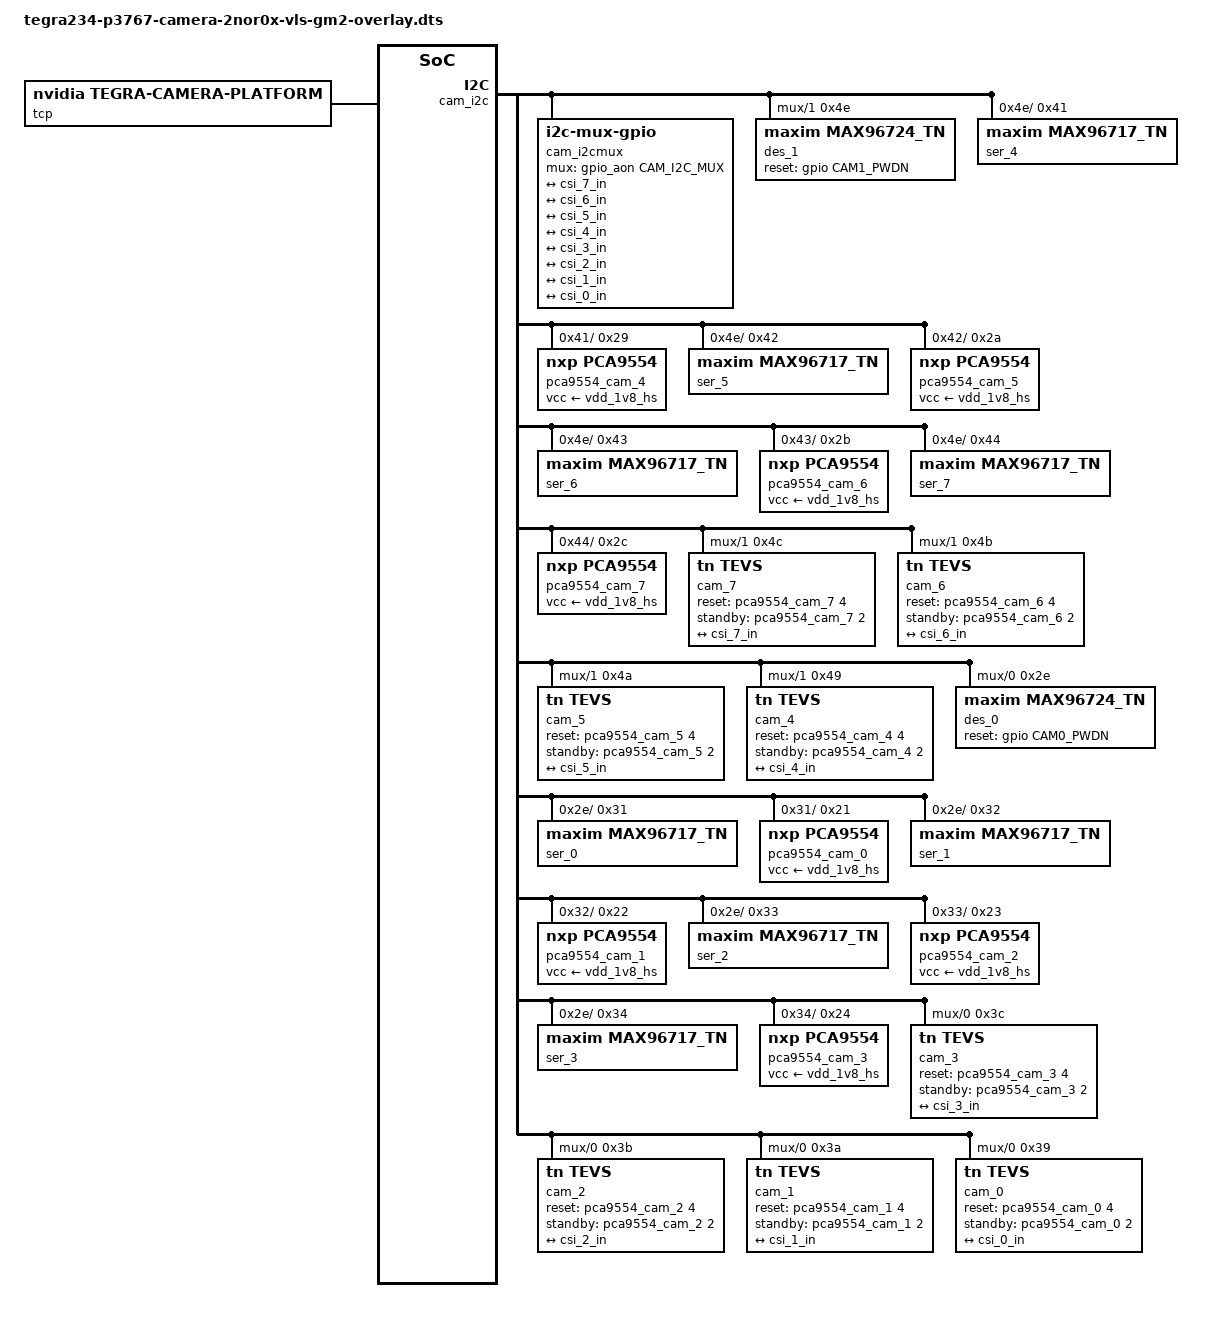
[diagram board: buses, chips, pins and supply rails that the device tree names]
// SPDX-License-Identifier: GPL-2.0-only
// SPDX-FileCopyrightText: Copyright (c) 2023, NVIDIA CORPORATION & AFFILIATES. All rights reserved.

/dts-v1/;
/plugin/;

#include <dt-bindings/tegra234-p3767-0000-common.h>

#define CAM0_RST    	TEGRA234_MAIN_GPIO(H, 3)
#define CAM0_PWDN		TEGRA234_MAIN_GPIO(H, 6)
#define CAM1_PWDN		TEGRA234_MAIN_GPIO(AC, 0)

#define CAM_I2C_MUX 	TEGRA234_AON_GPIO(CC, 3)

#define CAM_NUM 8

#define CAM0_PORT 				0
#define CAM0_LANES 				4
#define CAM0_VC_ID 				0
#define CAM0_LANES_STRING 		"4"
#define CAM0_SINTERFACE			"serial_a"
#define CAM0_LANE_POLARITY		"6"
#define CAM0_PIXEL_CLK			"140000000"
#define CAM0_SERDES_PIXEL_CLK	"625000000"
#define CAM0_DES_PHY_ID			1

#define CAM1_PORT 				0
#define CAM1_LANES 				4
#define CAM1_VC_ID 				1
#define CAM1_LANES_STRING 		"4"
#define CAM1_SINTERFACE			"serial_a"
#define CAM1_LANE_POLARITY		"6"
#define CAM1_PIXEL_CLK			"140000000"
#define CAM1_SERDES_PIXEL_CLK	"625000000"
#define CAM1_DES_PHY_ID			1

#define CAM2_PORT 				0
#define CAM2_LANES 				4
#define CAM2_VC_ID 				2
#define CAM2_LANES_STRING 		"4"
#define CAM2_SINTERFACE			"serial_a"
#define CAM2_LANE_POLARITY		"6"
#define CAM2_PIXEL_CLK			"140000000"
#define CAM2_SERDES_PIXEL_CLK	"625000000"
#define CAM2_DES_PHY_ID			1

#define CAM3_PORT 				0
#define CAM3_LANES 				4
#define CAM3_VC_ID 				3
#define CAM3_LANES_STRING 		"4"
#define CAM3_SINTERFACE			"serial_a"
#define CAM3_LANE_POLARITY		"6"
#define CAM3_PIXEL_CLK			"140000000"
#define CAM3_SERDES_PIXEL_CLK	"625000000"
#define CAM3_DES_PHY_ID			1

#define CAM4_PORT 				2
#define CAM4_LANES 				4
#define CAM4_VC_ID 				0
#define CAM4_LANES_STRING 		"4"
#define CAM4_SINTERFACE			"serial_c"
#define CAM4_LANE_POLARITY		"0"
#define CAM4_PIXEL_CLK			"140000000"
#define CAM4_SERDES_PIXEL_CLK	"625000000"
#define CAM4_DES_PHY_ID			1

#define CAM5_PORT 				2
#define CAM5_LANES 				4
#define CAM5_VC_ID 				1
#define CAM5_LANES_STRING 		"4"
#define CAM5_SINTERFACE			"serial_c"
#define CAM5_LANE_POLARITY		"0"
#define CAM5_PIXEL_CLK			"140000000"
#define CAM5_SERDES_PIXEL_CLK	"625000000"
#define CAM5_DES_PHY_ID			1

#define CAM6_PORT 				2
#define CAM6_LANES 				4
#define CAM6_VC_ID 				2
#define CAM6_LANES_STRING 		"4"
#define CAM6_SINTERFACE			"serial_c"
#define CAM6_LANE_POLARITY		"0"
#define CAM6_PIXEL_CLK			"140000000"
#define CAM6_SERDES_PIXEL_CLK	"625000000"
#define CAM6_DES_PHY_ID			1

#define CAM7_PORT 				2
#define CAM7_LANES 				4
#define CAM7_VC_ID 				3
#define CAM7_LANES_STRING 		"4"
#define CAM7_SINTERFACE			"serial_c"
#define CAM7_LANE_POLARITY		"0"
#define CAM7_PIXEL_CLK			"140000000"
#define CAM7_SERDES_PIXEL_CLK	"625000000"
#define CAM7_DES_PHY_ID			1

#define DES_LINK_FREQ			1250000000
#define TEVS_LINK_FREQ			280000000

#define TEVS_MODE_COMMON(LANES, SINTERFACE, LANE_POLARITY, PIXEL_CLK, SERDES_PIXEL_CLK)	\
	mclk_khz = "24000";							\
	num_lanes = LANES;							\
	tegra_sinterface = SINTERFACE;				\
	lane_polarity = LANE_POLARITY;				\
	phy_mode = "DPHY";							\
	discontinuous_clk = "no";					\
	dpcm_enable = "false";						\
	cil_settletime = "0";						\
	mode_type = "yuv";							\
	pixel_phase = "uyvy";						\
	csi_pixel_bit_depth = "16";					\
	readout_orientation = "90";					\
	line_length = "3448";						\
	inherent_gain = "1";						\
	mclk_multiplier = "9.33";					\
	pix_clk_hz = PIXEL_CLK;						\
	serdes_pix_clk_hz = SERDES_PIXEL_CLK;		\
	gain_factor = "16";							\
	framerate_factor = "1000000";				\
	exposure_factor = "1000000";				\
	min_gain_val = "16";						\
	max_gain_val = "170";						\
	step_gain_val = "1";						\
	default_gain = "16";						\
	min_hdr_ratio = "1";						\
	max_hdr_ratio = "1";						\
	min_framerate = "2000000";					\
	step_framerate = "1";						\
	min_exp_time = "13";						\
	max_exp_time = "683709";					\
	step_exp_time = "1";						\
	default_exp_time = "2495";					\
	embedded_metadata_height = "0";

#define TEVS_MODES(LANES, SINTERFACE, LANE_POLARITY, PIXEL_CLK, SERDES_PIXEL_CLK)	\
	mode0 {										\
		TEVS_MODE_COMMON(LANES, SINTERFACE, LANE_POLARITY, PIXEL_CLK, SERDES_PIXEL_CLK)	\
		active_w = "3280";						\
		active_h = "2464";						\
		max_framerate = "21000000";				\
		default_framerate = "21000000";			\
	};											\
	mode1 {										\
		TEVS_MODE_COMMON(LANES, SINTERFACE, LANE_POLARITY, PIXEL_CLK, SERDES_PIXEL_CLK)	\
		active_w = "3280";						\
		active_h = "1848";						\
		max_framerate = "28000000";				\
		default_framerate = "28000000";			\
	};											\
	mode2 {										\
		TEVS_MODE_COMMON(LANES, SINTERFACE, LANE_POLARITY, PIXEL_CLK, SERDES_PIXEL_CLK)	\
		active_w = "1920";						\
		active_h = "1080";						\
		max_framerate = "30000000";				\
		default_framerate = "30000000";			\
	};											\
	mode3 {										\
		TEVS_MODE_COMMON(LANES, SINTERFACE, LANE_POLARITY, PIXEL_CLK, SERDES_PIXEL_CLK)	\
		active_w = "1640";						\
		active_h = "1232";						\
		max_framerate = "30000000";				\
		default_framerate = "30000000";			\
	};											\
	mode4 {										\
		TEVS_MODE_COMMON(LANES, SINTERFACE, LANE_POLARITY, PIXEL_CLK, SERDES_PIXEL_CLK)	\
		active_w = "1280";						\
		active_h = "720";						\
		max_framerate = "60000000";				\
		default_framerate = "60000000";			\
	};											\
	mode5 {										\
		TEVS_MODE_COMMON(LANES, SINTERFACE, LANE_POLARITY, PIXEL_CLK, SERDES_PIXEL_CLK)	\
		active_w = "640";						\
		active_h = "480";						\
		max_framerate = "60000000";				\
		default_framerate = "60000000";			\
	};

/ {
	overlay-name = "TechNexion VLS-GM2 Camera with Pixel Mode";
	jetson-header-name = "Jetson 24pin CSI Connector";

	fragment-camera-tevs@0 {
		target-path = "/";
		__overlay__ {
			tegra-capture-vi  {
				num-channels = <CAM_NUM>;
				ports {
					#address-cells = <1>;
					#size-cells = <0>;

					vi_port0: port@0 {
						reg = <0>;

						vi_in0: endpoint {
							vc-id = <CAM0_VC_ID>;
							port-index = <CAM0_PORT>;
							bus-width = <CAM0_LANES>;
							remote-endpoint = <&csi_0_out>;
						};
					};

					vi_port1: port@1 {
						reg = <1>;

						vi_in1: endpoint {
							vc-id = <CAM1_VC_ID>;
							port-index = <CAM1_PORT>;
							bus-width = <CAM1_LANES>;
							remote-endpoint = <&csi_1_out>;
						};
					};

					vi_port2: port@2 {
						reg = <2>;

						vi_in2: endpoint {
							vc-id = <CAM2_VC_ID>;
							port-index = <CAM2_PORT>;
							bus-width = <CAM2_LANES>;
							remote-endpoint = <&csi_2_out>;
						};
					};

					vi_port3: port@3 {
						reg = <3>;

						vi_in3: endpoint {
							vc-id = <CAM3_VC_ID>;
							port-index = <CAM3_PORT>;
							bus-width = <CAM3_LANES>;
							remote-endpoint = <&csi_3_out>;
						};
					};

					vi_port4: port@4 {
						reg = <4>;

						vi_in4: endpoint {
							vc-id = <CAM4_VC_ID>;
							port-index = <CAM4_PORT>;
							bus-width = <CAM4_LANES>;
							remote-endpoint = <&csi_4_out>;
						};
					};

					vi_port5: port@5 {
						reg = <5>;

						vi_in5: endpoint {
							vc-id = <CAM5_VC_ID>;
							port-index = <CAM5_PORT>;
							bus-width = <CAM5_LANES>;
							remote-endpoint = <&csi_5_out>;
						};
					};

					vi_port6: port@6 {
						reg = <6>;

						vi_in6: endpoint {
							vc-id = <CAM6_VC_ID>;
							port-index = <CAM6_PORT>;
							bus-width = <CAM6_LANES>;
							remote-endpoint = <&csi_6_out>;
						};
					};

					vi_port7: port@7 {
						reg = <7>;

						vi_in7: endpoint {
							vc-id = <CAM7_VC_ID>;
							port-index = <CAM7_PORT>;
							bus-width = <CAM7_LANES>;
							remote-endpoint = <&csi_7_out>;
						};
					};
				};
			};

			tcp: tegra-camera-platform {
				compatible = "nvidia, tegra-camera-platform";
				/**
				* Physical settings to calculate max ISO BW
				*
				* num_csi_lanes = <>;
				* Total number of CSI lanes when all cameras are active
				*
				* max_lane_speed = <>;
				* Max lane speed in Kbit/s
				*
				* min_bits_per_pixel = <>;
				* Min bits per pixel
				*
				* vi_peak_byte_per_pixel = <>;
				* Max byte per pixel for the VI ISO case
				*
				* vi_bw_margin_pct = <>;
				* Vi bandwidth margin in percentage
				*
				* max_pixel_rate = <>;
				* Max pixel rate in Kpixel/s for the ISP ISO case
				*
				* isp_peak_byte_per_pixel = <>;
				* Max byte per pixel for the ISP ISO case
				*
				* isp_bw_margin_pct = <>;
				* Isp bandwidth margin in percentage
				*/
				num_csi_lanes = <8>;
				max_lane_speed = <1500000>;
				min_bits_per_pixel = <16>;
				vi_peak_byte_per_pixel = <2>;
				vi_bw_margin_pct = <25>;
				// max_pixel_rate = <240000>;
				// isp_peak_byte_per_pixel = <5>;
				// isp_bw_margin_pct = <25>;

				/**
				 * The general guideline for naming badge_info contains 3 parts, and is as follows,
				 * The first part is the camera_board_id for the module; if the module is in a FFD
				 * platform, then use the platform name for this part.
				 * The second part contains the position of the module, ex. "rear" or "front".
				 * The third part contains the last 6 characters of a part number which is found
				 * in the module's specsheet from the vendor.
				 */
				modules {
					module0 {
						badge = "jakku_front_RBP194";
						position = "front";
						orientation = "1";
						drivernode0 {
							pcl_id = "v4l2_sensor";
							sysfs-device-tree = "/sys/firmware/devicetree/base/bus@0/cam_i2cmux/i2c@0/rpi22_tevs_a@39";
						};
					};

					module1 {
						badge = "jakku_front_RBP194";
						position = "front";
						orientation = "1";
						drivernode0 {
							pcl_id = "v4l2_sensor";
							sysfs-device-tree = "/sys/firmware/devicetree/base/bus@0/cam_i2cmux/i2c@0/rpi22_tevs_b@3a";
						};
					};

					module2 {
						badge = "jakku_front_RBP194";
						position = "front";
						orientation = "1";
						drivernode0 {
							pcl_id = "v4l2_sensor";
							sysfs-device-tree = "/sys/firmware/devicetree/base/bus@0/cam_i2cmux/i2c@0/rpi22_tevs_c@3b";
						};
					};

					module3 {
						badge = "jakku_front_RBP194";
						position = "front";
						orientation = "1";
						drivernode0 {
							pcl_id = "v4l2_sensor";
							sysfs-device-tree = "/sys/firmware/devicetree/base/bus@0/cam_i2cmux/i2c@0/rpi22_tevs_d@3c";
						};
					};

					module4 {
						badge = "jakku_front_RBP194";
						position = "front";
						orientation = "1";
						drivernode0 {
							pcl_id = "v4l2_sensor";
							sysfs-device-tree = "/sys/firmware/devicetree/base/bus@0/cam_i2cmux/i2c@1/rpi22_tevs_e@49";
						};
					};

					module5 {
						badge = "jakku_front_RBP194";
						position = "front";
						orientation = "1";
						drivernode0 {
							pcl_id = "v4l2_sensor";
							sysfs-device-tree = "/sys/firmware/devicetree/base/bus@0/cam_i2cmux/i2c@1/rpi22_tevs_f@4a";
						};
					};

					module6 {
						badge = "jakku_front_RBP194";
						position = "front";
						orientation = "1";
						drivernode0 {
							pcl_id = "v4l2_sensor";
							sysfs-device-tree = "/sys/firmware/devicetree/base/bus@0/cam_i2cmux/i2c@1/rpi22_tevs_g@4b";
						};
					};

					module7 {
						badge = "jakku_front_RBP194";
						position = "front";
						orientation = "1";
						drivernode0 {
							pcl_id = "v4l2_sensor";
							sysfs-device-tree = "/sys/firmware/devicetree/base/bus@0/cam_i2cmux/i2c@1/rpi22_tevs_h@4c";
						};
					};
				};
			};

			bus@0 {
				host1x@13e00000 {
					nvcsi@15a00000 {
						#address-cells = <1>;
						#size-cells = <0>;

						num-channels = <CAM_NUM>;

						channel@0 {
							reg = <0>;
							ports {
								#address-cells = <1>;
								#size-cells = <0>;

								port@0 {
									reg = <0>;

									csi_0_in: endpoint@0 {
										port-index = <CAM0_PORT>;
										bus-width = <CAM0_LANES>;
										remote-endpoint = <&rpi22_tevs_0_out>;
									};
								};

								port@1 {
									reg = <1>;

									csi_0_out: endpoint@1 {
										remote-endpoint = <&vi_in0>;
									};
								};
							};
						};

						channel@1 {
							reg = <1>;
							ports {
								#address-cells = <1>;
								#size-cells = <0>;

								port@0 {
									reg = <0>;

									csi_1_in: endpoint@2 {
										port-index = <CAM1_PORT>;
										bus-width = <CAM1_LANES>;
										remote-endpoint = <&rpi22_tevs_1_out>;
									};
								};

								port@1 {
									reg = <1>;

									csi_1_out: endpoint@3 {
										remote-endpoint = <&vi_in1>;
									};
								};
							};
						};

						channel@2 {
							reg = <2>;
							ports {
								#address-cells = <1>;
								#size-cells = <0>;

								port@0 {
									reg = <0>;

									csi_2_in: endpoint@4 {
										port-index = <CAM2_PORT>;
										bus-width = <CAM2_LANES>;
										remote-endpoint = <&rpi22_tevs_2_out>;
									};
								};

								port@1 {
									reg = <1>;

									csi_2_out: endpoint@5 {
										remote-endpoint = <&vi_in2>;
									};
								};
							};
						};

						channel@3 {
							reg = <3>;
							ports {
								#address-cells = <1>;
								#size-cells = <0>;

								port@0 {
									reg = <0>;

									csi_3_in: endpoint@6 {
										port-index = <CAM3_PORT>;
										bus-width = <CAM3_LANES>;
										remote-endpoint = <&rpi22_tevs_3_out>;
									};
								};

								port@1 {
									reg = <1>;

									csi_3_out: endpoint@7 {
										remote-endpoint = <&vi_in3>;
									};
								};
							};
						};

						channel@4 {
							reg = <4>;
							ports {
								#address-cells = <1>;
								#size-cells = <0>;

								port@0 {
									reg = <0>;

									csi_4_in: endpoint@8 {
										port-index = <CAM4_PORT>;
										bus-width = <CAM4_LANES>;
										remote-endpoint = <&rpi22_tevs_4_out>;
									};
								};

								port@1 {
									reg = <1>;

									csi_4_out: endpoint@9 {
										remote-endpoint = <&vi_in4>;
									};
								};
							};
						};

						channel@5 {
							reg = <5>;
							ports {
								#address-cells = <1>;
								#size-cells = <0>;

								port@0 {
									reg = <0>;

									csi_5_in: endpoint@10 {
										port-index = <CAM5_PORT>;
										bus-width = <CAM5_LANES>;
										remote-endpoint = <&rpi22_tevs_5_out>;
									};
								};

								port@1 {
									reg = <1>;

									csi_5_out: endpoint@11 {
										remote-endpoint = <&vi_in5>;
									};
								};
							};
						};

						channel@6 {
							reg = <6>;
							ports {
								#address-cells = <1>;
								#size-cells = <0>;

								port@0 {
									reg = <0>;

									csi_6_in: endpoint@12 {
										port-index = <CAM6_PORT>;
										bus-width = <CAM6_LANES>;
										remote-endpoint = <&rpi22_tevs_6_out>;
									};
								};

								port@1 {
									reg = <1>;

									csi_6_out: endpoint@13 {
										remote-endpoint = <&vi_in6>;
									};
								};
							};
						};

						channel@7 {
							reg = <7>;
							ports {
								#address-cells = <1>;
								#size-cells = <0>;

								port@0 {
									reg = <0>;

									csi_7_in: endpoint@14 {
										port-index = <CAM7_PORT>;
										bus-width = <CAM7_LANES>;
										remote-endpoint = <&rpi22_tevs_7_out>;
									};
								};

								port@1 {
									reg = <1>;

									csi_7_out: endpoint@15 {
										remote-endpoint = <&vi_in7>;
									};
								};
							};
						};
					};
				};

				cam_i2cmux {
					#address-cells = <1>;
					#size-cells = <0>;

					status = "okay";
					compatible = "i2c-mux-gpio";
					i2c-parent = <&cam_i2c>;
					mux-gpios = <&gpio_aon CAM_I2C_MUX GPIO_ACTIVE_HIGH>;

					cam_i2c_1: i2c@1 {
						#address-cells = <1>;
						#size-cells = <0>;

						reg = <1>;
						status = "okay";

						rbpcv2_imx219_c@10 {
							status = "disabled";
						};
					};

					cam_i2c_0: i2c@0 {
						#address-cells = <1>;
						#size-cells = <0>;

						reg = <0>;
						status = "okay";

						rbpcv2_imx219_a@10 {
							status = "disabled";
						};
					};
				};
			};
		};
	};
};

&cam_i2c_0 {
	des_0: max96724_a@2e {
		#address-cells = <1>;
		#size-cells = <0>;

		compatible = "maxim,max96724_tn";
		reg = <0x2e>;

		reset-gpios = <&gpio CAM0_PWDN GPIO_ACTIVE_HIGH>;

		//i2c addr alias map "serializer0, serializer1, serializer2, serializer3"
		i2c-addr-alias-map-local = <0x31 0x32 0x33 0x34>;
		i2c-addr-alias-map-remote = <0x40 0x40 0x40 0x40>;
		i2c-addr-alias-source-id = <0 0 0 0>;

		gpio-controller;
		#gpio-cells = <2>;
		gpio-ranges = <&des_0 0 0 8>;

		i2c-mux {
			#address-cells = <1>;
			#size-cells = <0>;

			des_0_i2c_0: i2c@0 {
				#address-cells = <1>;
				#size-cells = <0>;

				reg = <0>;
			};

			des_0_i2c_1: i2c@1 {
				#address-cells = <1>;
				#size-cells = <0>;

				reg = <1>;
			};

			des_0_i2c_2: i2c@2 {
				#address-cells = <1>;
				#size-cells = <0>;

				reg = <2>;
			};

			des_0_i2c_3: i2c@3 {
				#address-cells = <1>;
				#size-cells = <0>;

				reg = <3>;
			};
		};

		phy@1 {
			reg = <1>;
		};

		pipe@0 {
			reg = <0>;

			maxim,phy-id = <CAM0_DES_PHY_ID>;
		};

		pipe@1 {
			reg = <1>;

			maxim,phy-id = <CAM1_DES_PHY_ID>;
		};

		pipe@2 {
			reg = <2>;

			maxim,phy-id = <CAM2_DES_PHY_ID>;
		};

		pipe@3 {
			reg = <3>;

			maxim,phy-id = <CAM3_DES_PHY_ID>;
		};

		channel@3 {
			reg = <3>;
			label = "des_0_ch_3";

			maxim,phy-id = <CAM3_DES_PHY_ID>;

			clock-lanes = <0>;
			data-lanes = <1 2 3 4>;
			link-frequencies = /bits/ 64 <DES_LINK_FREQ>;
		};

		channel@2 {
			reg = <2>;
			label = "des_0_ch_2";

			maxim,phy-id = <CAM2_DES_PHY_ID>;

			clock-lanes = <0>;
			data-lanes = <1 2 3 4>;
			link-frequencies = /bits/ 64 <DES_LINK_FREQ>;
		};

		channel@1 {
			reg = <1>;
			label = "des_0_ch_1";

			maxim,phy-id = <CAM1_DES_PHY_ID>;

			clock-lanes = <0>;
			data-lanes = <1 2 3 4>;
			link-frequencies = /bits/ 64 <DES_LINK_FREQ>;
		};

		channel@0 {
			reg = <0>;
			label = "des_0_ch_0";

			maxim,phy-id = <CAM0_DES_PHY_ID>;

			clock-lanes = <0>;
			data-lanes = <1 2 3 4>;
			link-frequencies = /bits/ 64 <DES_LINK_FREQ>;
		};
	};

	cam_3: rpi22_tevs_d@3c {
		compatible = "tn,tevs";
		/* I2C device address */
		reg = <0x3c>;
		status = "okay";

		reset-gpios = <&pca9554_cam_3 4 GPIO_ACTIVE_HIGH>;
		standby-gpios = <&pca9554_cam_3 2 GPIO_ACTIVE_HIGH>;
		technexion,gmsl-ser = <&ser_3>;
		technexion,gmsl-des = <&des_0>;
		technexion,gmsl-des-channel = <3>;

		/* V4L2 device node location */
		devnode = "video3";
		/* Physical dimensions of sensor */
		physical_w = "3.680";
		physical_h = "2.760";
		sensor_model = "tevs";
		use_sensor_mode_id = "false";

		TEVS_MODES(CAM3_LANES_STRING, CAM3_SINTERFACE, CAM3_LANE_POLARITY, CAM3_PIXEL_CLK, CAM3_SERDES_PIXEL_CLK)

		ports {
			#address-cells = <1>;
			#size-cells = <0>;
			port@0 {
				reg = <0>;

				rpi22_tevs_3_out: endpoint {
					port-index = <CAM3_PORT>;
					bus-width = <CAM3_LANES>;
					remote-endpoint = <&csi_3_in>;
					link-frequencies = /bits/ 64 <TEVS_LINK_FREQ>;
				};
			};
		};
	};

	cam_2: rpi22_tevs_c@3b {
		compatible = "tn,tevs";
		/* I2C device address */
		reg = <0x3b>;
		status = "okay";

		reset-gpios = <&pca9554_cam_2 4 GPIO_ACTIVE_HIGH>;
		standby-gpios = <&pca9554_cam_2 2 GPIO_ACTIVE_HIGH>;
		technexion,gmsl-ser = <&ser_2>;
		technexion,gmsl-des = <&des_0>;
		technexion,gmsl-des-channel = <2>;

		/* V4L2 device node location */
		devnode = "video2";
		/* Physical dimensions of sensor */
		physical_w = "3.680";
		physical_h = "2.760";
		sensor_model = "tevs";
		use_sensor_mode_id = "false";

		TEVS_MODES(CAM2_LANES_STRING, CAM2_SINTERFACE, CAM2_LANE_POLARITY, CAM2_PIXEL_CLK, CAM2_SERDES_PIXEL_CLK)

		ports {
			#address-cells = <1>;
			#size-cells = <0>;
			port@0 {
				reg = <0>;

				rpi22_tevs_2_out: endpoint {
					port-index = <CAM2_PORT>;
					bus-width = <CAM2_LANES>;
					remote-endpoint = <&csi_2_in>;
					link-frequencies = /bits/ 64 <TEVS_LINK_FREQ>;
				};
			};
		};
	};

	cam_1: rpi22_tevs_b@3a {
		compatible = "tn,tevs";
		/* I2C device address */
		reg = <0x3a>;
		status = "okay";

		reset-gpios = <&pca9554_cam_1 4 GPIO_ACTIVE_HIGH>;
		standby-gpios = <&pca9554_cam_1 2 GPIO_ACTIVE_HIGH>;
		technexion,gmsl-ser = <&ser_1>;
		technexion,gmsl-des = <&des_0>;
		technexion,gmsl-des-channel = <1>;

		/* V4L2 device node location */
		devnode = "video1";
		/* Physical dimensions of sensor */
		physical_w = "3.680";
		physical_h = "2.760";
		sensor_model = "tevs";
		use_sensor_mode_id = "false";

		TEVS_MODES(CAM1_LANES_STRING, CAM1_SINTERFACE, CAM1_LANE_POLARITY, CAM1_PIXEL_CLK, CAM1_SERDES_PIXEL_CLK)

		ports {
			#address-cells = <1>;
			#size-cells = <0>;
			port@0 {
				reg = <0>;

				rpi22_tevs_1_out: endpoint {
					port-index = <CAM1_PORT>;
					bus-width = <CAM1_LANES>;
					remote-endpoint = <&csi_1_in>;
					link-frequencies = /bits/ 64 <TEVS_LINK_FREQ>;
				};
			};
		};
	};

	cam_0: rpi22_tevs_a@39 {
		compatible = "tn,tevs";
		/* I2C device address */
		reg = <0x39>;
		status = "okay";

		reset-gpios = <&pca9554_cam_0 4 GPIO_ACTIVE_HIGH>;
		standby-gpios = <&pca9554_cam_0 2 GPIO_ACTIVE_HIGH>;
		technexion,gmsl-ser = <&ser_0>;
		technexion,gmsl-des = <&des_0>;
		technexion,gmsl-des-channel = <0>;

		/* V4L2 device node location */
		devnode = "video0";
		/* Physical dimensions of sensor */
		physical_w = "3.680";
		physical_h = "2.760";
		sensor_model = "tevs";
		use_sensor_mode_id = "false";

		TEVS_MODES(CAM0_LANES_STRING, CAM0_SINTERFACE, CAM0_LANE_POLARITY, CAM0_PIXEL_CLK, CAM0_SERDES_PIXEL_CLK)

		ports {
			#address-cells = <1>;
			#size-cells = <0>;
			port@0 {
				reg = <0>;

				rpi22_tevs_0_out: endpoint {
					port-index = <CAM0_PORT>;
					bus-width = <CAM0_LANES>;
					remote-endpoint = <&csi_0_in>;
					link-frequencies = /bits/ 64 <TEVS_LINK_FREQ>;
				};
			};
		};
	};
};

&cam_i2c_1 {
	des_1: max96724_b@4e {
		#address-cells = <1>;
		#size-cells = <0>;

		compatible = "maxim,max96724_tn";
		reg = <0x4e>;
		phy-reg = <0x2e>;

		reset-gpios = <&gpio CAM1_PWDN GPIO_ACTIVE_HIGH>;

		//i2c addr alias map "serializer0, serializer1, serializer2, serializer3"
		i2c-addr-alias-map-local = <0x41 0x42 0x43 0x44>;
		i2c-addr-alias-map-remote = <0x40 0x40 0x40 0x40>;
		i2c-addr-alias-source-id = <1 1 1 1>;

		gpio-controller;
		#gpio-cells = <2>;
		gpio-ranges = <&des_1 0 0 8>;

		// fsync-mode = "internal";

		i2c-mux {
			#address-cells = <1>;
			#size-cells = <0>;

			des_1_i2c_0: i2c@0 {
				#address-cells = <1>;
				#size-cells = <0>;

				reg = <0>;
			};

			des_1_i2c_1: i2c@1 {
				#address-cells = <1>;
				#size-cells = <0>;

				reg = <1>;
			};

			des_1_i2c_2: i2c@2 {
				#address-cells = <1>;
				#size-cells = <0>;

				reg = <2>;
			};

			des_1_i2c_3: i2c@3 {
				#address-cells = <1>;
				#size-cells = <0>;

				reg = <3>;
			};
		};

		phy@1 {
			reg = <1>;
		};

		pipe@0 {
			reg = <0>;

			maxim,phy-id = <CAM4_DES_PHY_ID>;
		};

		pipe@1 {
			reg = <1>;

			maxim,phy-id = <CAM5_DES_PHY_ID>;
		};

		pipe@2 {
			reg = <2>;

			maxim,phy-id = <CAM6_DES_PHY_ID>;
		};

		pipe@3 {
			reg = <3>;

			maxim,phy-id = <CAM7_DES_PHY_ID>;
		};

		channel@3 {
			reg = <3>;
			label = "des_1_ch_3";

			maxim,phy-id = <CAM7_DES_PHY_ID>;

			clock-lanes = <0>;
			data-lanes = <1 2 3 4>;
			link-frequencies = /bits/ 64 <DES_LINK_FREQ>;
		};

		channel@2 {
			reg = <2>;
			label = "des_1_ch_2";

			maxim,phy-id = <CAM6_DES_PHY_ID>;

			clock-lanes = <0>;
			data-lanes = <1 2 3 4>;
			link-frequencies = /bits/ 64 <DES_LINK_FREQ>;
		};

		channel@1 {
			reg = <1>;
			label = "des_1_ch_1";

			maxim,phy-id = <CAM5_DES_PHY_ID>;

			clock-lanes = <0>;
			data-lanes = <1 2 3 4>;
			link-frequencies = /bits/ 64 <DES_LINK_FREQ>;
		};

		channel@0 {
			reg = <0>;
			label = "des_1_ch_0";

			maxim,phy-id = <CAM4_DES_PHY_ID>;

			clock-lanes = <0>;
			data-lanes = <1 2 3 4>;
			link-frequencies = /bits/ 64 <DES_LINK_FREQ>;
		};
	};

	cam_7: rpi22_tevs_h@4c {
		compatible = "tn,tevs";
		/* I2C device address */
		reg = <0x4c>;
		status = "okay";

		reset-gpios = <&pca9554_cam_7 4 GPIO_ACTIVE_HIGH>;
		standby-gpios = <&pca9554_cam_7 2 GPIO_ACTIVE_HIGH>;
		technexion,gmsl-ser = <&ser_7>;
		technexion,gmsl-des = <&des_1>;
		technexion,gmsl-des-channel = <3>;

		/* V4L2 device node location */
		devnode = "video7";
		/* Physical dimensions of sensor */
		physical_w = "3.680";
		physical_h = "2.760";
		sensor_model = "tevs";
		use_sensor_mode_id = "false";

		TEVS_MODES(CAM7_LANES_STRING, CAM7_SINTERFACE, CAM7_LANE_POLARITY, CAM7_PIXEL_CLK, CAM7_SERDES_PIXEL_CLK)

		ports {
			#address-cells = <1>;
			#size-cells = <0>;
			port@0 {
				reg = <0>;

				rpi22_tevs_7_out: endpoint {
					port-index = <CAM7_PORT>;
					bus-width = <CAM7_LANES>;
					remote-endpoint = <&csi_7_in>;
					link-frequencies = /bits/ 64 <TEVS_LINK_FREQ>;
				};
			};
		};
	};

	cam_6: rpi22_tevs_g@4b {
		compatible = "tn,tevs";
		/* I2C device address */
		reg = <0x4b>;
		status = "okay";

		reset-gpios = <&pca9554_cam_6 4 GPIO_ACTIVE_HIGH>;
		standby-gpios = <&pca9554_cam_6 2 GPIO_ACTIVE_HIGH>;
		technexion,gmsl-ser = <&ser_6>;
		technexion,gmsl-des = <&des_1>;
		technexion,gmsl-des-channel = <2>;

		/* V4L2 device node location */
		devnode = "video6";
		/* Physical dimensions of sensor */
		physical_w = "3.680";
		physical_h = "2.760";
		sensor_model = "tevs";
		use_sensor_mode_id = "false";

		TEVS_MODES(CAM6_LANES_STRING, CAM6_SINTERFACE, CAM6_LANE_POLARITY, CAM6_PIXEL_CLK, CAM6_SERDES_PIXEL_CLK)

		ports {
			#address-cells = <1>;
			#size-cells = <0>;
			port@0 {
				reg = <0>;

				rpi22_tevs_6_out: endpoint {
					port-index = <CAM6_PORT>;
					bus-width = <CAM6_LANES>;
					remote-endpoint = <&csi_6_in>;
					link-frequencies = /bits/ 64 <TEVS_LINK_FREQ>;
				};
			};
		};
	};

	cam_5: rpi22_tevs_f@4a {
		compatible = "tn,tevs";
		/* I2C device address */
		reg = <0x4a>;
		status = "okay";

		reset-gpios = <&pca9554_cam_5 4 GPIO_ACTIVE_HIGH>;
		standby-gpios = <&pca9554_cam_5 2 GPIO_ACTIVE_HIGH>;
		technexion,gmsl-ser = <&ser_5>;
		technexion,gmsl-des = <&des_1>;
		technexion,gmsl-des-channel = <1>;

		/* V4L2 device node location */
		devnode = "video5";
		/* Physical dimensions of sensor */
		physical_w = "3.680";
		physical_h = "2.760";
		sensor_model = "tevs";
		use_sensor_mode_id = "false";

		TEVS_MODES(CAM5_LANES_STRING, CAM5_SINTERFACE, CAM5_LANE_POLARITY, CAM5_PIXEL_CLK, CAM5_SERDES_PIXEL_CLK)

		ports {
			#address-cells = <1>;
			#size-cells = <0>;
			port@0 {
				reg = <0>;

				rpi22_tevs_5_out: endpoint {
					port-index = <CAM5_PORT>;
					bus-width = <CAM5_LANES>;
					remote-endpoint = <&csi_5_in>;
					link-frequencies = /bits/ 64 <TEVS_LINK_FREQ>;
				};
			};
		};
	};

	cam_4: rpi22_tevs_e@49 {
		compatible = "tn,tevs";
		/* I2C device address */
		reg = <0x49>;
		status = "okay";

		reset-gpios = <&pca9554_cam_4 4 GPIO_ACTIVE_HIGH>;
		standby-gpios = <&pca9554_cam_4 2 GPIO_ACTIVE_HIGH>;
		technexion,gmsl-ser = <&ser_4>;
		technexion,gmsl-des = <&des_1>;
		technexion,gmsl-des-channel = <0>;

		/* V4L2 device node location */
		devnode = "video4";
		/* Physical dimensions of sensor */
		physical_w = "3.680";
		physical_h = "2.760";
		sensor_model = "tevs";
		use_sensor_mode_id = "false";

		TEVS_MODES(CAM4_LANES_STRING, CAM4_SINTERFACE, CAM4_LANE_POLARITY, CAM4_PIXEL_CLK, CAM4_SERDES_PIXEL_CLK)

		ports {
			#address-cells = <1>;
			#size-cells = <0>;
			port@0 {
				reg = <0>;

				rpi22_tevs_4_out: endpoint {
					port-index = <CAM4_PORT>;
					bus-width = <CAM4_LANES>;
					remote-endpoint = <&csi_4_in>;
					link-frequencies = /bits/ 64 <TEVS_LINK_FREQ>;
				};
			};
		};
	};
};

&des_0_i2c_0 {
	ser_0: max96717_a@31 {
		#address-cells = <1>;
		#size-cells = <0>;

		compatible = "maxim,max96717_tn";
		reg = <0x31>;

		// i2c addr alias map "sensor, gpio expander"
		i2c-addr-alias-map-local = <0x39 0x21>;
		i2c-addr-alias-map-remote = <0x48 0x25>;

		gpio-controller;
		#gpio-cells = <2>;
		gpio-ranges = <&ser_0 0 0 11>;

		pinctrl-names = "default";
		pinctrl-0 = <&ser_0_pinmux_default>;

		ser_0_pinmux_default: pinmux {
			mfp0_fsync {
				pins = "mfp0";
				function = "gpio";
				maxim,gmsl-rx = <1>;
				maxim,gmsl-rx-id = <0>;
				output-enable;
				output-low;
			};
		};

		i2c-mux {
			#address-cells = <1>;
			#size-cells = <0>;

			ser_0_i2c_0: i2c@0 {
				#address-cells = <1>;
				#size-cells = <0>;

				reg = <0>;
			};
		};

		pipe@0 {
			reg = <0>;

			maxim,stream-id = <0>;
		};

		channel@0 {
			reg = <0>;
			label = "ser_0_ch_0";

			clock-lanes = <0>;
			data-lanes = <1 2 3 4>;
		};
	};
};

&ser_0_i2c_0 {
	pca9554_cam_0: pca9554@21 {
		compatible = "nxp,pca9554";
		reg = <0x21>;
		gpio-controller;
		#gpio-cells = <2>;
		gpio-line-names = "EXPOSURE_TRIG_IN",
						"FLASH_OUT",
						"INFO_TRIG_IN",
						"CAMA_SHUTTER",
						"CSI_P1_nRST",
						"PWR_TIME0",
						"PWR_TIME1",
						"3V3_EN";
		vcc-supply = <&vdd_1v8_hs>;
		vcc_lp = "vcc";
		status = "okay";
	};
};

&des_0_i2c_1 {
	ser_1: max96717_b@32 {
		#address-cells = <1>;
		#size-cells = <0>;

		compatible = "maxim,max96717_tn";
		reg = <0x32>;

		// i2c addr alias map "sensor, gpio expander"
		i2c-addr-alias-map-local = <0x3a 0x22>;
		i2c-addr-alias-map-remote = <0x48 0x25>;

		gpio-controller;
		#gpio-cells = <2>;
		gpio-ranges = <&ser_1 0 0 11>;

		pinctrl-names = "default";
		pinctrl-0 = <&ser_1_pinmux_default>;

		ser_1_pinmux_default: pinmux {
			mfp0_fsync {
				pins = "mfp0";
				function = "gpio";
				maxim,gmsl-rx = <1>;
				maxim,gmsl-rx-id = <0>;
				output-enable;
				output-low;
			};
		};

		i2c-mux {
			#address-cells = <1>;
			#size-cells = <0>;

			ser_1_i2c_0: i2c@0 {
				#address-cells = <1>;
				#size-cells = <0>;

				reg = <0>;
			};
		};

		pipe@0 {
			reg = <0>;

			maxim,stream-id = <1>;
		};

		channel@0 {
			reg = <0>;
			label = "ser_1_ch_0";

			clock-lanes = <0>;
			data-lanes = <1 2 3 4>;
		};
	};
};

&ser_1_i2c_0 {
	pca9554_cam_1: pca9554@22 {
		compatible = "nxp,pca9554";
		reg = <0x22>;
		gpio-controller;
		#gpio-cells = <2>;
		gpio-line-names = "EXPOSURE_TRIG_IN",
						"FLASH_OUT",
						"INFO_TRIG_IN",
						"CAMA_SHUTTER",
						"CSI_P1_nRST",
						"PWR_TIME0",
						"PWR_TIME1",
						"3V3_EN";
		vcc-supply = <&vdd_1v8_hs>;
		vcc_lp = "vcc";
		status = "okay";
	};
};

&des_0_i2c_2 {
	ser_2: max96717_c@33 {
		#address-cells = <1>;
		#size-cells = <0>;

		compatible = "maxim,max96717_tn";
		reg = <0x33>;

		// i2c addr alias map "sensor, gpio expander"
		i2c-addr-alias-map-local = <0x3b 0x23>;
		i2c-addr-alias-map-remote = <0x48 0x25>;

		gpio-controller;
		#gpio-cells = <2>;
		gpio-ranges = <&ser_2 0 0 11>;

		pinctrl-names = "default";
		pinctrl-0 = <&ser_2_pinmux_default>;

		ser_2_pinmux_default: pinmux {
			mfp0_fsync {
				pins = "mfp0";
				function = "gpio";
				maxim,gmsl-rx = <1>;
				maxim,gmsl-rx-id = <0>;
				output-enable;
				output-low;
			};
		};

		i2c-mux {
			#address-cells = <1>;
			#size-cells = <0>;

			ser_2_i2c_0: i2c@0 {
				#address-cells = <1>;
				#size-cells = <0>;

				reg = <0>;
			};
		};

		pipe@0 {
			reg = <0>;

			maxim,stream-id = <2>;
		};

		channel@0 {
			reg = <0>;
			label = "ser_2_ch_0";

			clock-lanes = <0>;
			data-lanes = <1 2 3 4>;
		};
	};
};

&ser_2_i2c_0 {
	pca9554_cam_2: pca9554@23 {
		compatible = "nxp,pca9554";
		reg = <0x23>;
		gpio-controller;
		#gpio-cells = <2>;
		gpio-line-names = "EXPOSURE_TRIG_IN",
						"FLASH_OUT",
						"INFO_TRIG_IN",
						"CAMA_SHUTTER",
						"CSI_P1_nRST",
						"PWR_TIME0",
						"PWR_TIME1",
						"3V3_EN";
		vcc-supply = <&vdd_1v8_hs>;
		vcc_lp = "vcc";
		status = "okay";
	};
};

&des_0_i2c_3 {
	ser_3: max96717_d@34 {
		#address-cells = <1>;
		#size-cells = <0>;

		compatible = "maxim,max96717_tn";
		reg = <0x34>;

		// i2c addr alias map "sensor, gpio expander"
		i2c-addr-alias-map-local = <0x3c 0x24>;
		i2c-addr-alias-map-remote = <0x48 0x25>;

		gpio-controller;
		#gpio-cells = <2>;
		gpio-ranges = <&ser_3 0 0 11>;

		pinctrl-names = "default";
		pinctrl-0 = <&ser_3_pinmux_default>;

		ser_3_pinmux_default: pinmux {
			mfp0_fsync {
				pins = "mfp0";
				function = "gpio";
				maxim,gmsl-rx = <1>;
				maxim,gmsl-rx-id = <0>;
				output-enable;
				output-low;
			};
		};

		i2c-mux {
			#address-cells = <1>;
			#size-cells = <0>;

			ser_3_i2c_0: i2c@0 {
				#address-cells = <1>;
				#size-cells = <0>;

				reg = <0>;
			};
		};

		pipe@0 {
			reg = <0>;

			maxim,stream-id = <3>;
		};

		channel@0 {
			reg = <0>;
			label = "ser_3_ch_0";

			clock-lanes = <0>;
			data-lanes = <1 2 3 4>;
		};
	};
};

&ser_3_i2c_0 {
	pca9554_cam_3: pca9554@24 {
		compatible = "nxp,pca9554";
		reg = <0x24>;
		gpio-controller;
		#gpio-cells = <2>;
		gpio-line-names = "EXPOSURE_TRIG_IN",
						"FLASH_OUT",
						"INFO_TRIG_IN",
						"CAMA_SHUTTER",
						"CSI_P1_nRST",
						"PWR_TIME0",
						"PWR_TIME1",
						"3V3_EN";
		vcc-supply = <&vdd_1v8_hs>;
		vcc_lp = "vcc";
		status = "okay";
	};
};

&des_1_i2c_0 {
	ser_4: max96717_e@41 {
		#address-cells = <1>;
		#size-cells = <0>;

		compatible = "maxim,max96717_tn";
		reg = <0x41>;

		// i2c addr alias map "sensor, gpio expander"
		i2c-addr-alias-map-local = <0x49 0x29>;
		i2c-addr-alias-map-remote = <0x48 0x25>;

		gpio-controller;
		#gpio-cells = <2>;
		gpio-ranges = <&ser_4 0 0 11>;

		pinctrl-names = "default";
		pinctrl-0 = <&ser_4_pinmux_default>;

		ser_4_pinmux_default: pinmux {
			mfp0_fsync {
				pins = "mfp0";
				function = "gpio";
				maxim,gmsl-rx = <1>;
				maxim,gmsl-rx-id = <0>;
				output-enable;
				output-low;
			};
		};

		i2c-mux {
			#address-cells = <1>;
			#size-cells = <0>;

			ser_4_i2c_0: i2c@0 {
				#address-cells = <1>;
				#size-cells = <0>;

				reg = <0>;
			};
		};

		pipe@0 {
			reg = <0>;

			maxim,stream-id = <0>;
		};

		channel@0 {
			reg = <0>;
			label = "ser_4_ch_0";

			clock-lanes = <0>;
			data-lanes = <1 2 3 4>;
		};
	};
};

&ser_4_i2c_0 {
	pca9554_cam_4: pca9554@29 {
		compatible = "nxp,pca9554";
		reg = <0x29>;
		gpio-controller;
		#gpio-cells = <2>;
		gpio-line-names = "EXPOSURE_TRIG_IN",
						"FLASH_OUT",
						"INFO_TRIG_IN",
						"CAMA_SHUTTER",
						"CSI_P1_nRST",
						"PWR_TIME0",
						"PWR_TIME1",
						"3V3_EN";
		vcc-supply = <&vdd_1v8_hs>;
		vcc_lp = "vcc";
		status = "okay";
	};
};

&des_1_i2c_1 {
	ser_5: max96717_f@42 {
		#address-cells = <1>;
		#size-cells = <0>;

		compatible = "maxim,max96717_tn";
		reg = <0x42>;

		// i2c addr alias map "sensor, gpio expander"
		i2c-addr-alias-map-local = <0x4a 0x2a>;
		i2c-addr-alias-map-remote = <0x48 0x25>;

		gpio-controller;
		#gpio-cells = <2>;
		gpio-ranges = <&ser_5 0 0 11>;

		pinctrl-names = "default";
		pinctrl-0 = <&ser_5_pinmux_default>;

		ser_5_pinmux_default: pinmux {
			mfp0_fsync {
				pins = "mfp0";
				function = "gpio";
				maxim,gmsl-rx = <1>;
				maxim,gmsl-rx-id = <0>;
				output-enable;
				output-low;
			};
		};

		i2c-mux {
			#address-cells = <1>;
			#size-cells = <0>;

			ser_5_i2c_0: i2c@0 {
				#address-cells = <1>;
				#size-cells = <0>;

				reg = <0>;
			};
		};

		pipe@0 {
			reg = <0>;

			maxim,stream-id = <1>;
		};

		channel@0 {
			reg = <0>;
			label = "ser_5_ch_0";

			clock-lanes = <0>;
			data-lanes = <1 2 3 4>;
		};
	};
};

&ser_5_i2c_0 {
	pca9554_cam_5: pca9554@2a {
		compatible = "nxp,pca9554";
		reg = <0x2a>;
		gpio-controller;
		#gpio-cells = <2>;
		gpio-line-names = "EXPOSURE_TRIG_IN",
						"FLASH_OUT",
						"INFO_TRIG_IN",
						"CAMA_SHUTTER",
						"CSI_P1_nRST",
						"PWR_TIME0",
						"PWR_TIME1",
						"3V3_EN";
		vcc-supply = <&vdd_1v8_hs>;
		vcc_lp = "vcc";
		status = "okay";
	};
};

&des_1_i2c_2 {
	ser_6: max96717_g@43 {
		#address-cells = <1>;
		#size-cells = <0>;

		compatible = "maxim,max96717_tn";
		reg = <0x43>;

		// i2c addr alias map "sensor, gpio expander"
		i2c-addr-alias-map-local = <0x4b 0x2b>;
		i2c-addr-alias-map-remote = <0x48 0x25>;

		gpio-controller;
		#gpio-cells = <2>;
		gpio-ranges = <&ser_6 0 0 11>;

		pinctrl-names = "default";
		pinctrl-0 = <&ser_6_pinmux_default>;

		ser_6_pinmux_default: pinmux {
			mfp0_fsync {
				pins = "mfp0";
				function = "gpio";
				maxim,gmsl-rx = <1>;
				maxim,gmsl-rx-id = <0>;
				output-enable;
				output-low;
			};
		};

		i2c-mux {
			#address-cells = <1>;
			#size-cells = <0>;

			ser_6_i2c_0: i2c@0 {
				#address-cells = <1>;
				#size-cells = <0>;

				reg = <0>;
			};
		};

		pipe@0 {
			reg = <0>;

			maxim,stream-id = <2>;
		};

		channel@0 {
			reg = <0>;
			label = "ser_6_ch_0";

			clock-lanes = <0>;
			data-lanes = <1 2 3 4>;
		};
	};
};

&ser_6_i2c_0 {
	pca9554_cam_6: pca9554@2b {
		compatible = "nxp,pca9554";
		reg = <0x2b>;
		gpio-controller;
		#gpio-cells = <2>;
		gpio-line-names = "EXPOSURE_TRIG_IN",
						"FLASH_OUT",
						"INFO_TRIG_IN",
						"CAMA_SHUTTER",
						"CSI_P1_nRST",
						"PWR_TIME0",
						"PWR_TIME1",
						"3V3_EN";
		vcc-supply = <&vdd_1v8_hs>;
		vcc_lp = "vcc";
		status = "okay";
	};
};

&des_1_i2c_3 {
	ser_7: max96717_h@44 {
		#address-cells = <1>;
		#size-cells = <0>;

		compatible = "maxim,max96717_tn";
		reg = <0x44>;

		// i2c addr alias map "sensor, gpio expander"
		i2c-addr-alias-map-local = <0x4c 0x2c>;
		i2c-addr-alias-map-remote = <0x48 0x25>;

		gpio-controller;
		#gpio-cells = <2>;
		gpio-ranges = <&ser_7 0 0 11>;

		pinctrl-names = "default";
		pinctrl-0 = <&ser_7_pinmux_default>;

		ser_7_pinmux_default: pinmux {
			mfp0_fsync {
				pins = "mfp0";
				function = "gpio";
				maxim,gmsl-rx = <1>;
				maxim,gmsl-rx-id = <0>;
				output-enable;
				output-low;
			};
		};

		i2c-mux {
			#address-cells = <1>;
			#size-cells = <0>;

			ser_7_i2c_0: i2c@0 {
				#address-cells = <1>;
				#size-cells = <0>;

				reg = <0>;
			};
		};

		pipe@0 {
			reg = <0>;

			maxim,stream-id = <3>;
		};

		channel@0 {
			reg = <0>;
			label = "ser_7_ch_0";

			clock-lanes = <0>;
			data-lanes = <1 2 3 4>;
		};
	};
};

&ser_7_i2c_0 {
	pca9554_cam_7: pca9554@2c {
		compatible = "nxp,pca9554";
		reg = <0x2c>;
		gpio-controller;
		#gpio-cells = <2>;
		gpio-line-names = "EXPOSURE_TRIG_IN",
						"FLASH_OUT",
						"INFO_TRIG_IN",
						"CAMA_SHUTTER",
						"CSI_P1_nRST",
						"PWR_TIME0",
						"PWR_TIME1",
						"3V3_EN";
		vcc-supply = <&vdd_1v8_hs>;
		vcc_lp = "vcc";
		status = "okay";
	};
};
